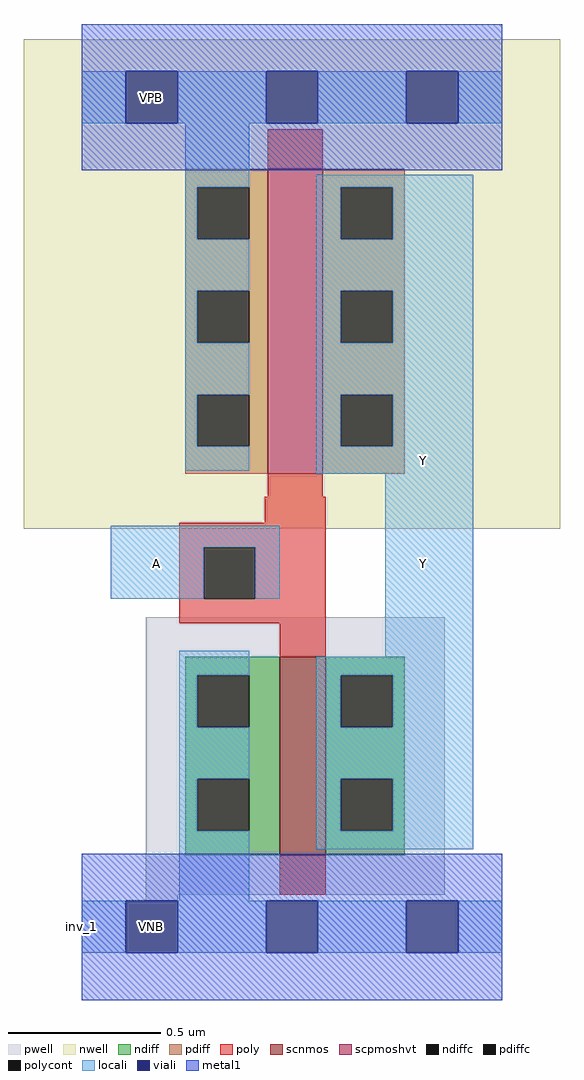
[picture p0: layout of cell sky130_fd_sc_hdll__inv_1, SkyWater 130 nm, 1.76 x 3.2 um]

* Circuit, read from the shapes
.subckt sky130_fd_sc_hdll__inv_1 A VGND VNB VPB VPWR Y
XM1 Y A VGND VNB sky130_fd_pr__nfet_01v8 w=0.65 l=0.15
XM2 Y A VPWR VPB sky130_fd_pr__pfet_01v8_hvt w=1 l=0.18
.ends

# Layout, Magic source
magic
tech sky130A
magscale 1 2
<< nwell >>
rect -38 261 314 582
<< pwell >>
rect 42 21 238 203
rect 42 17 63 21
rect 29 -17 63 17
<< scnmos >>
rect 130 47 160 177
<< scpmoshvt >>
rect 122 297 158 497
<< ndiff >>
rect 68 165 130 177
rect 68 131 76 165
rect 110 131 130 165
rect 68 97 130 131
rect 68 63 76 97
rect 110 63 130 97
rect 68 47 130 63
rect 160 165 212 177
rect 160 131 170 165
rect 204 131 212 165
rect 160 97 212 131
rect 160 63 170 97
rect 204 63 212 97
rect 160 47 212 63
<< pdiff >>
rect 68 485 122 497
rect 68 451 76 485
rect 110 451 122 485
rect 68 417 122 451
rect 68 383 76 417
rect 110 383 122 417
rect 68 349 122 383
rect 68 315 76 349
rect 110 315 122 349
rect 68 297 122 315
rect 158 485 212 497
rect 158 451 170 485
rect 204 451 212 485
rect 158 417 212 451
rect 158 383 170 417
rect 204 383 212 417
rect 158 349 212 383
rect 158 315 170 349
rect 204 315 212 349
rect 158 297 212 315
<< ndiffc >>
rect 76 131 110 165
rect 76 63 110 97
rect 170 131 204 165
rect 170 63 204 97
<< pdiffc >>
rect 76 451 110 485
rect 76 383 110 417
rect 76 315 110 349
rect 170 451 204 485
rect 170 383 204 417
rect 170 315 204 349
<< poly >>
rect 122 497 158 523
rect 122 282 158 297
rect 120 265 160 282
rect 64 249 160 265
rect 64 215 80 249
rect 114 215 160 249
rect 64 199 160 215
rect 130 177 160 199
rect 130 21 160 47
<< polycont >>
rect 80 215 114 249
<< locali >>
rect 0 527 29 561
rect 63 527 121 561
rect 155 527 213 561
rect 247 527 276 561
rect 68 485 110 527
rect 68 451 76 485
rect 68 417 110 451
rect 68 383 76 417
rect 68 349 110 383
rect 68 315 76 349
rect 68 299 110 315
rect 154 485 257 493
rect 154 451 170 485
rect 204 451 257 485
rect 154 417 257 451
rect 154 383 170 417
rect 204 383 257 417
rect 154 349 257 383
rect 154 315 170 349
rect 204 315 257 349
rect 154 297 257 315
rect 19 249 130 263
rect 19 215 80 249
rect 114 215 130 249
rect 64 165 110 181
rect 199 177 257 297
rect 64 131 76 165
rect 64 97 110 131
rect 64 63 76 97
rect 64 17 110 63
rect 154 165 257 177
rect 154 131 170 165
rect 204 131 257 165
rect 154 97 257 131
rect 154 63 170 97
rect 204 63 257 97
rect 154 51 257 63
rect 0 -17 29 17
rect 63 -17 121 17
rect 155 -17 213 17
rect 247 -17 276 17
<< viali >>
rect 29 527 63 561
rect 121 527 155 561
rect 213 527 247 561
rect 29 -17 63 17
rect 121 -17 155 17
rect 213 -17 247 17
<< metal1 >>
rect 0 561 276 592
rect 0 527 29 561
rect 63 527 121 561
rect 155 527 213 561
rect 247 527 276 561
rect 0 496 276 527
rect 0 17 276 48
rect 0 -17 29 17
rect 63 -17 121 17
rect 155 -17 213 17
rect 247 -17 276 17
rect 0 -48 276 -17
<< labels >>
flabel locali s 207 289 241 323 0 FreeSans 340 0 0 0 Y
port 6 nsew signal output
flabel locali s 207 221 241 255 0 FreeSans 340 0 0 0 Y
port 6 nsew signal output
flabel locali s 32 221 66 255 0 FreeSans 340 0 0 0 A
port 1 nsew signal input
flabel nwell s 29 527 63 561 0 FreeSans 200 0 0 0 VPB
port 4 nsew power bidirectional
flabel pwell s 29 -17 63 17 0 FreeSans 200 0 0 0 VNB
port 3 nsew ground bidirectional
flabel metal1 s 29 -17 63 17 0 FreeSans 200 0 0 0 VGND
port 2 nsew ground bidirectional
flabel metal1 s 29 527 63 561 0 FreeSans 200 0 0 0 VPWR
port 5 nsew power bidirectional
rlabel comment s 0 0 0 0 4 inv_1
<< properties >>
string LEFsite unithd
string LEFclass CORE
string FIXED_BBOX 0 0 276 544
string GDS_FILE $PDKPATH/libs.ref/sky130_fd_sc_hdll/gds/sky130_fd_sc_hdll.gds
string LEFsymmetry X Y R90
string GDS_END 2096676
string GDS_START 2093118
string LEFproperties maskLayoutSubType "abstract" prCellType "standard" originalViewName "layout"
<< end >>
